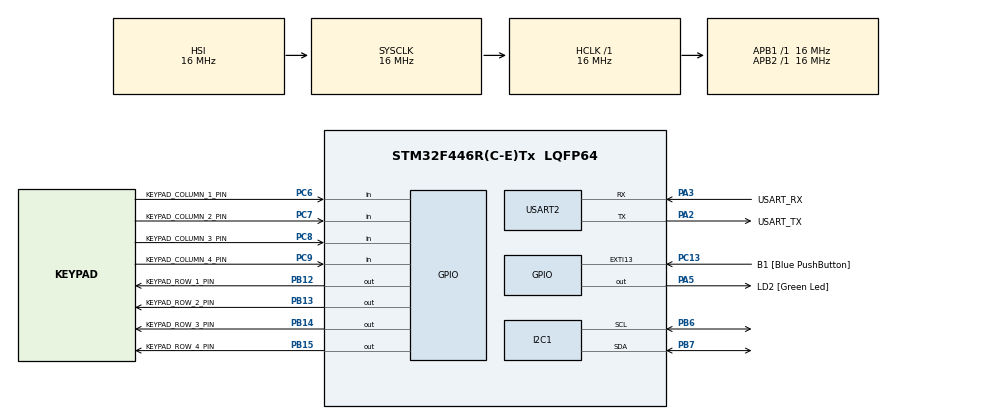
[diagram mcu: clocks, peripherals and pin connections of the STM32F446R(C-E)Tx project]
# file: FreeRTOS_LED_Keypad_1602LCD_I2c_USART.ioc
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Dma.Request0=USART2_RX
Dma.USART2_RX.0.Direction=DMA_PERIPH_TO_MEMORY
Dma.USART2_RX.0.FIFOMode=DMA_FIFOMODE_DISABLE
Dma.USART2_RX.0.Instance=DMA1_Stream5
Dma.USART2_RX.0.MemDataAlignment=DMA_MDATAALIGN_BYTE
Dma.USART2_RX.0.MemInc=DMA_MINC_ENABLE
Dma.USART2_RX.0.Mode=DMA_NORMAL
Dma.USART2_RX.0.PeriphDataAlignment=DMA_PDATAALIGN_BYTE
Dma.USART2_RX.0.PeriphInc=DMA_PINC_DISABLE
Dma.USART2_RX.0.Priority=DMA_PRIORITY_LOW
FREERTOS.BinarySemaphores01=myBinarySem01,Dynamic,NULL;myBinarySem02,Dynamic,NULL
FREERTOS.CountingSemaphores01=myCountingSem01,2,Dynamic,NULL;myCountingSem02,2,Dynamic,NULL
FREERTOS.Queues01=myQueue01,16,uint16_t,0,Dynamic,NULL,NULL
FREERTOS.Tasks01=Task1,24,256,vTask1,Default,NULL,Dynamic,NULL,NULL;Task2,16,256,vTask2,Default,NULL,Dynamic,NULL,NULL
Mcu.Family=STM32F4
Mcu.Name=STM32F446R(C-E)Tx
Mcu.Package=LQFP64
NVIC.DMA1_Stream5_IRQn=true\:0\:0\:false\:false\:true\:true\:false\:true
NVIC.PriorityGroup=NVIC_PRIORITYGROUP_4
NVIC.TIM6_DAC_IRQn=true\:0\:0\:false\:false\:true\:false\:false\:true
NVIC.TimeBase=TIM6_DAC_IRQn
NVIC.TimeBaseIP=TIM6
NVIC.USART2_IRQn=true\:0\:0\:false\:false\:true\:false\:true\:true
PA13.GPIO_Label=TMS
PA13.Mode=Serial_Wire
PA13.Signal=SYS_JTMS-SWDIO
PA14.GPIO_Label=TCK
PA14.Mode=Serial_Wire
PA14.Signal=SYS_JTCK-SWCLK
PA2.GPIO_Label=USART_TX
PA2.Mode=Asynchronous
PA2.Signal=USART2_TX
PA3.GPIO_Label=USART_RX
PA3.Mode=Asynchronous
PA3.Signal=USART2_RX
PA5.GPIO_Label=LD2 [Green Led]
PA5.Signal=GPIO_Output
PB12.GPIO_Label=KEYPAD_ROW_1_PIN
PB12.Signal=GPIO_Output
PB13.GPIO_Label=KEYPAD_ROW_2_PIN
PB13.Signal=GPIO_Output
PB14.GPIO_Label=KEYPAD_ROW_3_PIN
PB14.Signal=GPIO_Output
PB15.GPIO_Label=KEYPAD_ROW_4_PIN
PB15.Signal=GPIO_Output
PB3.GPIO_Label=SWO
PB3.Signal=SYS_JTDO-SWO
PB6.Mode=I2C
PB6.Signal=I2C1_SCL
PB7.Mode=I2C
PB7.Signal=I2C1_SDA
PC13.GPIO_Label=B1 [Blue PushButton]
PC13.GPIO_ModeDefaultEXTI=GPIO_MODE_IT_FALLING
PC13.Signal=GPXTI13
PC14-OSC32_IN.Mode=LSE-External-Oscillator
PC14-OSC32_IN.Signal=RCC_OSC32_IN
PC15-OSC32_OUT.Mode=LSE-External-Oscillator
PC15-OSC32_OUT.Signal=RCC_OSC32_OUT
PC6.GPIO_Label=KEYPAD_COLUMN_1_PIN
PC6.GPIO_PuPd=GPIO_PULLUP
PC6.Signal=GPIO_Input
PC7.GPIO_Label=KEYPAD_COLUMN_2_PIN
PC7.Signal=GPIO_Input
PC8.GPIO_Label=KEYPAD_COLUMN_3_PIN
PC8.Signal=GPIO_Input
PC9.GPIO_Label=KEYPAD_COLUMN_4_PIN
PC9.Signal=GPIO_Input
PH0-OSC_IN.Mode=HSE-External-Oscillator
PH0-OSC_IN.Signal=RCC_OSC_IN
PH1-OSC_OUT.Mode=HSE-External-Oscillator
PH1-OSC_OUT.Signal=RCC_OSC_OUT
ProjectManager.HeapSize=0x200
ProjectManager.StackSize=0x400
ProjectManager.TargetToolchain=STM32CubeIDE
RCC.48MHZClocksFreq_Value=84000000
RCC.AHBFreq_Value=16000000
RCC.APB1Freq_Value=16000000
RCC.APB1TimFreq_Value=16000000
RCC.APB2Freq_Value=16000000
RCC.APB2TimFreq_Value=16000000
RCC.CortexFreq_Value=16000000
RCC.FLatency-AdvancedSettings=FLASH_LATENCY_0
RCC.HCLKFreq_Value=16000000
RCC.HSE_VALUE=8000000
RCC.HSI_VALUE=16000000
RCC.PLLM=8
RCC.PLLN=280
RCC.PLLSourceVirtual=RCC_PLLSOURCE_HSE
RCC.SYSCLKFreq_VALUE=16000000
RCC.USBFreq_Value=140000000
RCC.VCOOutputFreq_Value=280000000
USART2.VirtualMode=VM_ASYNC
VP_FREERTOS_VS_CMSIS_V2.Mode=CMSIS_V2
VP_SYS_VS_tim6.Mode=TIM6
board=NUCLEO-F446RE

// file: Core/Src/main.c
/* USER CODE BEGIN Header */
/**
  ******************************************************************************
  * @file           : main.c
  * @brief          : Main program body
  ******************************************************************************
  * @attention
  *
  * <h2><center>&copy; Copyright (c) 2020 STMicroelectronics.
  * All rights reserved.</center></h2>
  *
  * This software component is licensed by ST under BSD 3-Clause license,
  * the "License"; You may not use this file except in compliance with the
  * License. You may obtain a copy of the License at:
  *                        opensource.org/licenses/BSD-3-Clause
  *
  ******************************************************************************
  */
/* USER CODE END Header */
#include "main.h"
#include "cmsis_os.h"

/* USER CODE BEGIN Includes */
#include "1602_LCD_APIs.h"
#include "4x4_Keypad_APIs.h"
#include "GSM_A6_Driver.h"
#include "myTasks.h"
/* USER CODE END Includes */

I2C_HandleTypeDef hi2c1;

UART_HandleTypeDef huart2;
DMA_HandleTypeDef hdma_usart2_rx;

/* Definitions for Task1 */
osThreadId_t Task1Handle;
const osThreadAttr_t Task1_attributes = {
  .name = "Task1",
  .priority = (osPriority_t) osPriorityNormal,
  .stack_size = 256 * 4
};
/* Definitions for Task2 */
osThreadId_t Task2Handle;
const osThreadAttr_t Task2_attributes = {
  .name = "Task2",
  .priority = (osPriority_t) osPriorityBelowNormal,
  .stack_size = 256 * 4
};
/* Definitions for myQueue01 */
osMessageQueueId_t myQueue01Handle;
const osMessageQueueAttr_t myQueue01_attributes = {
  .name = "myQueue01"
};
/* Definitions for myBinarySem01 */
osSemaphoreId_t myBinarySem01Handle;
const osSemaphoreAttr_t myBinarySem01_attributes = {
  .name = "myBinarySem01"
};
/* Definitions for myBinarySem02 */
osSemaphoreId_t myBinarySem02Handle;
const osSemaphoreAttr_t myBinarySem02_attributes = {
  .name = "myBinarySem02"
};
/* Definitions for myCountingSem01 */
osSemaphoreId_t myCountingSem01Handle;
const osSemaphoreAttr_t myCountingSem01_attributes = {
  .name = "myCountingSem01"
};
/* Definitions for myCountingSem02 */
osSemaphoreId_t myCountingSem02Handle;
const osSemaphoreAttr_t myCountingSem02_attributes = {
  .name = "myCountingSem02"
};
/* USER CODE BEGIN PV */
char phone_num[10];
/* USER CODE END PV */

void SystemClock_Config(void);
static void MX_GPIO_Init(void);
static void MX_DMA_Init(void);
static void MX_USART2_UART_Init(void);
static void MX_I2C1_Init(void);
void vTask1(void *argument);
void vTask2(void *argument);

int main(void)
{

  /* MCU Configuration--------------------------------------------------------*/

  /* Reset of all peripherals, Initializes the Flash interface and the Systick. */
  HAL_Init();

  /* Configure the system clock */
  SystemClock_Config();

  /* Initialize all configured peripherals */
  MX_GPIO_Init();
  MX_DMA_Init();
  MX_USART2_UART_Init();
  MX_I2C1_Init();
  /* USER CODE BEGIN 2 */
  LCD_Init();
  LCD_Send_String_On_Line1("Welcome");
  LCD_Send_String_On_Line2("Initializing...");

  KEYPAD_Init();

  GSM_Init();

  Phone_Home_Display();
  /* USER CODE END 2 */

  /* Init scheduler */
  osKernelInitialize();

  /* Create the semaphores(s) */
  /* creation of myBinarySem01 */
  myBinarySem01Handle = osSemaphoreNew(1, 1, &myBinarySem01_attributes);

  /* creation of myBinarySem02 */
  myBinarySem02Handle = osSemaphoreNew(1, 1, &myBinarySem02_attributes);

  /* creation of myCountingSem01 */
  myCountingSem01Handle = osSemaphoreNew(2, 2, &myCountingSem01_attributes);

  /* creation of myCountingSem02 */
  myCountingSem02Handle = osSemaphoreNew(2, 2, &myCountingSem02_attributes);

  /* Create the queue(s) */
  /* creation of myQueue01 */
  myQueue01Handle = osMessageQueueNew (16, sizeof(uint16_t), &myQueue01_attributes);

  /* Create the thread(s) */
  /* creation of Task1 */
  Task1Handle = osThreadNew(vTask1, NULL, &Task1_attributes);

  /* creation of Task2 */
  Task2Handle = osThreadNew(vTask2, NULL, &Task2_attributes);

  /* Start scheduler */
  osKernelStart();

  /* We should never get here as control is now taken by the scheduler */
  /* Infinite loop */
  while (1)
  {

  }
}

void SystemClock_Config(void)
{
  RCC_OscInitTypeDef RCC_OscInitStruct = {0};
  RCC_ClkInitTypeDef RCC_ClkInitStruct = {0};

  /** Configure the main internal regulator output voltage
  */
  __HAL_RCC_PWR_CLK_ENABLE();
  __HAL_PWR_VOLTAGESCALING_CONFIG(PWR_REGULATOR_VOLTAGE_SCALE3);
  /** Initializes the RCC Oscillators according to the specified parameters
  * in the RCC_OscInitTypeDef structure.
  */
  RCC_OscInitStruct.OscillatorType = RCC_OSCILLATORTYPE_HSI;
  RCC_OscInitStruct.HSIState = RCC_HSI_ON;
  RCC_OscInitStruct.HSICalibrationValue = RCC_HSICALIBRATION_DEFAULT;
  RCC_OscInitStruct.PLL.PLLState = RCC_PLL_NONE;
  if (HAL_RCC_OscConfig(&RCC_OscInitStruct) != HAL_OK)
  {
    Error_Handler();
  }
  /** Initializes the CPU, AHB and APB buses clocks
  */
  RCC_ClkInitStruct.ClockType = RCC_CLOCKTYPE_HCLK|RCC_CLOCKTYPE_SYSCLK
                              |RCC_CLOCKTYPE_PCLK1|RCC_CLOCKTYPE_PCLK2;
  RCC_ClkInitStruct.SYSCLKSource = RCC_SYSCLKSOURCE_HSI;
  RCC_ClkInitStruct.AHBCLKDivider = RCC_SYSCLK_DIV1;
  RCC_ClkInitStruct.APB1CLKDivider = RCC_HCLK_DIV1;
  RCC_ClkInitStruct.APB2CLKDivider = RCC_HCLK_DIV1;

  if (HAL_RCC_ClockConfig(&RCC_ClkInitStruct, FLASH_LATENCY_0) != HAL_OK)
  {
    Error_Handler();
  }
}

static void MX_I2C1_Init(void)
{

  hi2c1.Instance = I2C1;
  hi2c1.Init.ClockSpeed = 100000;
  hi2c1.Init.DutyCycle = I2C_DUTYCYCLE_2;
  hi2c1.Init.OwnAddress1 = 0;
  hi2c1.Init.AddressingMode = I2C_ADDRESSINGMODE_7BIT;
  hi2c1.Init.DualAddressMode = I2C_DUALADDRESS_DISABLE;
  hi2c1.Init.OwnAddress2 = 0;
  hi2c1.Init.GeneralCallMode = I2C_GENERALCALL_DISABLE;
  hi2c1.Init.NoStretchMode = I2C_NOSTRETCH_DISABLE;
  if (HAL_I2C_Init(&hi2c1) != HAL_OK)
  {
    Error_Handler();
  }

}

static void MX_USART2_UART_Init(void)
{

  huart2.Instance = USART2;
  huart2.Init.BaudRate = 115200;
  huart2.Init.WordLength = UART_WORDLENGTH_8B;
  huart2.Init.StopBits = UART_STOPBITS_1;
  huart2.Init.Parity = UART_PARITY_NONE;
  huart2.Init.Mode = UART_MODE_TX_RX;
  huart2.Init.HwFlowCtl = UART_HWCONTROL_NONE;
  huart2.Init.OverSampling = UART_OVERSAMPLING_16;
  if (HAL_UART_Init(&huart2) != HAL_OK)
  {
    Error_Handler();
  }

}

static void MX_DMA_Init(void)
{

  /* DMA controller clock enable */
  __HAL_RCC_DMA1_CLK_ENABLE();

  /* DMA interrupt init */
  /* DMA1_Stream5_IRQn interrupt configuration */
  HAL_NVIC_SetPriority(DMA1_Stream5_IRQn, 0, 0);
  HAL_NVIC_EnableIRQ(DMA1_Stream5_IRQn);

}

static void MX_GPIO_Init(void)
{
  GPIO_InitTypeDef GPIO_InitStruct = {0};

  /* GPIO Ports Clock Enable */
  __HAL_RCC_GPIOC_CLK_ENABLE();
  __HAL_RCC_GPIOH_CLK_ENABLE();
  __HAL_RCC_GPIOA_CLK_ENABLE();
  __HAL_RCC_GPIOB_CLK_ENABLE();

  /*Configure GPIO pin Output Level */
  HAL_GPIO_WritePin(LD2_GPIO_Port, LD2_Pin, GPIO_PIN_RESET);

  /*Configure GPIO pin Output Level */
  HAL_GPIO_WritePin(GPIOB, KEYPAD_ROW_1_PIN_Pin|KEYPAD_ROW_2_PIN_Pin|KEYPAD_ROW_3_PIN_Pin|KEYPAD_ROW_4_PIN_Pin, GPIO_PIN_RESET);

  /*Configure GPIO pin : B1_Pin */
  GPIO_InitStruct.Pin = B1_Pin;
  GPIO_InitStruct.Mode = GPIO_MODE_IT_FALLING;
  GPIO_InitStruct.Pull = GPIO_NOPULL;
  HAL_GPIO_Init(B1_GPIO_Port, &GPIO_InitStruct);

  /*Configure GPIO pin : LD2_Pin */
  GPIO_InitStruct.Pin = LD2_Pin;
  GPIO_InitStruct.Mode = GPIO_MODE_OUTPUT_PP;
  GPIO_InitStruct.Pull = GPIO_NOPULL;
  GPIO_InitStruct.Speed = GPIO_SPEED_FREQ_LOW;
  HAL_GPIO_Init(LD2_GPIO_Port, &GPIO_InitStruct);

  /*Configure GPIO pins : KEYPAD_ROW_1_PIN_Pin KEYPAD_ROW_2_PIN_Pin KEYPAD_ROW_3_PIN_Pin KEYPAD_ROW_4_PIN_Pin */
  GPIO_InitStruct.Pin = KEYPAD_ROW_1_PIN_Pin|KEYPAD_ROW_2_PIN_Pin|KEYPAD_ROW_3_PIN_Pin|KEYPAD_ROW_4_PIN_Pin;
  GPIO_InitStruct.Mode = GPIO_MODE_OUTPUT_PP;
  GPIO_InitStruct.Pull = GPIO_NOPULL;
  GPIO_InitStruct.Speed = GPIO_SPEED_FREQ_LOW;
  HAL_GPIO_Init(GPIOB, &GPIO_InitStruct);

  /*Configure GPIO pin : KEYPAD_COLUMN_1_PIN_Pin */
  GPIO_InitStruct.Pin = KEYPAD_COLUMN_1_PIN_Pin;
  GPIO_InitStruct.Mode = GPIO_MODE_INPUT;
  GPIO_InitStruct.Pull = GPIO_PULLUP;
  HAL_GPIO_Init(KEYPAD_COLUMN_1_PIN_GPIO_Port, &GPIO_InitStruct);

  /*Configure GPIO pins : KEYPAD_COLUMN_2_PIN_Pin KEYPAD_COLUMN_3_PIN_Pin KEYPAD_COLUMN_4_PIN_Pin */
  GPIO_InitStruct.Pin = KEYPAD_COLUMN_2_PIN_Pin|KEYPAD_COLUMN_3_PIN_Pin|KEYPAD_COLUMN_4_PIN_Pin;
  GPIO_InitStruct.Mode = GPIO_MODE_INPUT;
  GPIO_InitStruct.Pull = GPIO_NOPULL;
  HAL_GPIO_Init(GPIOC, &GPIO_InitStruct);

}

void vTask1(void *argument)
{
  /* USER CODE BEGIN 5 */
	char key = KEYPAD_NOT_PRESSED;
  /* Infinite loop */
  for(;;)
  {
	  key = KEYPAD_Read();
	  if(key != KEYPAD_NOT_PRESSED)
	  {
	  if(key == '1')
	  {
		  Phone_Make_Call();
	  }

	  else if(key == '2')
	  {
		  Phone_Send_SMS();
	  }
	  }
	  else
	  {
		  LCD_Clear_Then_Display("Invalid Choice");
		  osDelay(100);
		  Phone_Home_Display();
	  }
    osDelay(1000);
  }
  /* USER CODE END 5 */
}

void vTask2(void *argument)
{
  /* USER CODE BEGIN vTask2 */
  /* Infinite loop */
  for(;;)
  {
	  osSemaphoreAcquire(myCountingSem02Handle,100);
	  if(GSM_Compare_GSMData_With("RING"))
	  {
		  Phone_Receive_Call();
	  }

	  if(GSM_Compare_GSMData_With("MESSAGE"))
	  {
		  Phone_Receive_SMS();
	  }
	  osSemaphoreRelease(myCountingSem02Handle);
    osDelay(100);
  }
  /* USER CODE END vTask2 */
}

void HAL_TIM_PeriodElapsedCallback(TIM_HandleTypeDef *htim)
{
  if (htim->Instance == TIM6) {
    HAL_IncTick();
  }
}

void HAL_UART_RxCpltCallback(UART_HandleTypeDef *huart)
{
	osStatus_t status;
	if(huart->Instance == USART2)
	{
		status = osSemaphoreRelease(myCountingSem02Handle);
		HAL_Delay(100);

	}
}

void Error_Handler(void)
{
}

/************************ (C) COPYRIGHT STMicroelectronics *****END OF FILE****/
